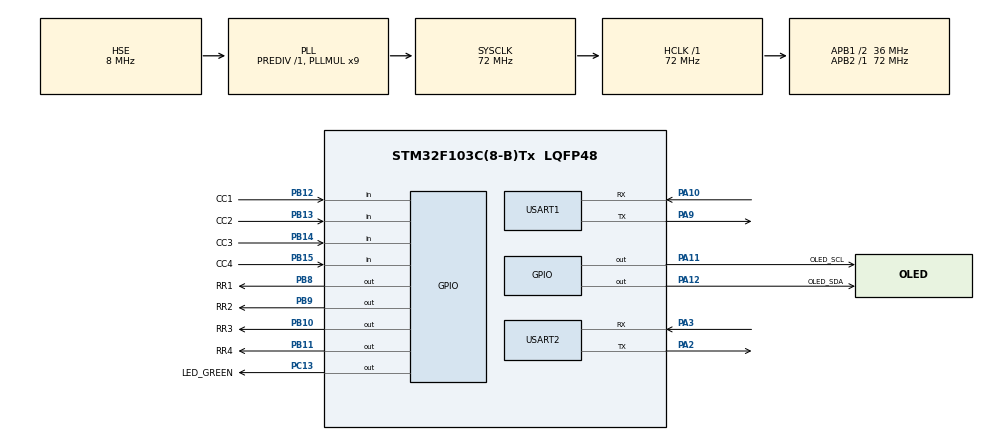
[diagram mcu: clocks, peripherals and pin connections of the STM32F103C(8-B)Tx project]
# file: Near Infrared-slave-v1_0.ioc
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FREERTOS.Tasks01=LED_Task,-2,128,Start_LED_Task,Default,NULL,Dynamic,NULL,NULL;menu_Task,-1,128,Start_menu_Task,Default,NULL,Dynamic,NULL,NULL;modbus_Task,-1,128,Start_modbus_Task,Default,NULL,Dynamic,NULL,NULL;keyboard_scan,-3,128,Start_keyboard_scan,Default,NULL,Dynamic,NULL,NULL;pump_Task,-3,128,Start_pump_Task,Default,NULL,Dynamic,NULL,NULL
FREERTOS.configTOTAL_HEAP_SIZE=4096
Mcu.Family=STM32F1
Mcu.Name=STM32F103C(8-B)Tx
Mcu.Package=LQFP48
NVIC.PriorityGroup=NVIC_PRIORITYGROUP_4
NVIC.TIM2_IRQn=true\:5\:0\:false\:false\:true\:true\:true\:true\:true
NVIC.TIM4_IRQn=true\:15\:0\:false\:false\:true\:false\:false\:true\:true
NVIC.TimeBase=TIM4_IRQn
NVIC.TimeBaseIP=TIM4
NVIC.USART1_IRQn=true\:5\:0\:true\:false\:true\:true\:true\:true\:true
NVIC.USART2_IRQn=true\:5\:0\:false\:false\:true\:true\:true\:true\:true
PA10.Mode=Asynchronous
PA10.Signal=USART1_RX
PA11.GPIO_Label=OLED_SCL
PA11.GPIO_PuPd=GPIO_NOPULL
PA11.GPIO_Speed=GPIO_SPEED_FREQ_HIGH
PA11.Signal=GPIO_Output
PA12.GPIO_Label=OLED_SDA
PA12.GPIO_Speed=GPIO_SPEED_FREQ_HIGH
PA12.Signal=GPIO_Output
PA13.Mode=Serial_Wire
PA13.Signal=SYS_JTMS-SWDIO
PA14.Mode=Serial_Wire
PA14.Signal=SYS_JTCK-SWCLK
PA2.Mode=Asynchronous
PA2.Signal=USART2_TX
PA3.Mode=Asynchronous
PA3.Signal=USART2_RX
PA9.Mode=Asynchronous
PA9.Signal=USART1_TX
PB10.GPIO_Label=RR3
PB10.GPIO_PuPd=GPIO_PULLDOWN
PB10.Signal=GPIO_Output
PB11.GPIO_Label=RR4
PB11.GPIO_PuPd=GPIO_PULLDOWN
PB11.Signal=GPIO_Output
PB12.GPIO_Label=CC1
PB12.GPIO_PuPd=GPIO_PULLUP
PB12.Signal=GPIO_Input
PB13.GPIO_Label=CC2
PB13.GPIO_PuPd=GPIO_PULLUP
PB13.Signal=GPIO_Input
PB14.GPIO_Label=CC3
PB14.GPIO_PuPd=GPIO_PULLUP
PB14.Signal=GPIO_Input
PB15.GPIO_Label=CC4
PB15.GPIO_PuPd=GPIO_PULLUP
PB15.Signal=GPIO_Input
PB8.GPIO_Label=RR1
PB8.GPIO_PuPd=GPIO_PULLDOWN
PB8.PinState=GPIO_PIN_RESET
PB8.Signal=GPIO_Output
PB9.GPIO_Label=RR2
PB9.GPIO_PuPd=GPIO_PULLDOWN
PB9.Signal=GPIO_Output
PC13-TAMPER-RTC.GPIO_Label=LED_GREEN
PC13-TAMPER-RTC.GPIO_PuPd=GPIO_PULLUP
PC13-TAMPER-RTC.GPIO_Speed=GPIO_SPEED_FREQ_HIGH
PC13-TAMPER-RTC.PinState=GPIO_PIN_SET
PC13-TAMPER-RTC.Signal=GPIO_Output
PC14-OSC32_IN.Mode=LSE-External-Oscillator
PC14-OSC32_IN.Signal=RCC_OSC32_IN
PC15-OSC32_OUT.Mode=LSE-External-Oscillator
PC15-OSC32_OUT.Signal=RCC_OSC32_OUT
PD0-OSC_IN.Mode=HSE-External-Oscillator
PD0-OSC_IN.Signal=RCC_OSC_IN
PD1-OSC_OUT.Mode=HSE-External-Oscillator
PD1-OSC_OUT.Signal=RCC_OSC_OUT
ProjectManager.HeapSize=0x200
ProjectManager.StackSize=0x400
ProjectManager.TargetToolchain=MDK-ARM V5.32
RCC.AHBFreq_Value=72000000
RCC.APB1CLKDivider=RCC_HCLK_DIV2
RCC.APB1Freq_Value=36000000
RCC.APB1TimFreq_Value=72000000
RCC.APB2Freq_Value=72000000
RCC.APB2TimFreq_Value=72000000
RCC.HCLKFreq_Value=72000000
RCC.PLLMUL=RCC_PLL_MUL9
RCC.PLLSourceVirtual=RCC_PLLSOURCE_HSE
RCC.SYSCLKFreq_VALUE=72000000
RCC.SYSCLKSource=RCC_SYSCLKSOURCE_PLLCLK
RCC.USBFreq_Value=72000000
RTC.Hours=14
RTC.Month=RTC_MONTH_JULY
RTC.Seconds=15
RTC.WeekDay=RTC_WEEKDAY_FRIDAY
RTC.Year=24
TIM2.AutoReloadPreload=TIM_AUTORELOAD_PRELOAD_ENABLE
TIM2.Period=1000-1
TIM2.Prescaler=72-1
TIM3.AutoReloadPreload=TIM_AUTORELOAD_PRELOAD_ENABLE
TIM3.Prescaler=72-1
USART1.VirtualMode=VM_ASYNC
USART2.VirtualMode=VM_ASYNC
VP_FREERTOS_VS_CMSIS_V1.Mode=CMSIS_V1
VP_RTC_No_RTC_Output.Mode=RTC_OUT_NO
VP_RTC_VS_RTC_Activate.Mode=RTC_Enabled
VP_RTC_VS_RTC_Calendar.Mode=RTC_Calendar
VP_SYS_VS_tim4.Mode=TIM4
VP_TIM2_VS_ClockSourceINT.Mode=Internal
VP_TIM3_VS_ClockSourceINT.Mode=Internal
board=custom

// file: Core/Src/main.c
/* USER CODE BEGIN Header */
/**
  ******************************************************************************
  * @file           : main.c
  * @brief          : Main program body
  ******************************************************************************
  * @attention
  *
  * Copyright (c) 2024 STMicroelectronics.
  * All rights reserved.
  *
  * This software is licensed under terms that can be found in the LICENSE file
  * in the root directory of this software component.
  * If no LICENSE file comes with this software, it is provided AS-IS.
  *
  ******************************************************************************
  */
/* USER CODE END Header */
#include "main.h"
#include "cmsis_os.h"
#include "rtc.h"
#include "tim.h"
#include "usart.h"
#include "gpio.h"

/* USER CODE BEGIN Includes */
#include "oled.h"
#include "menu.h"
#include "modbus.h"

/* USER CODE END Includes */

void SystemClock_Config(void);
void MX_FREERTOS_Init(void);

int main(void)
{

  /* MCU Configuration--------------------------------------------------------*/

  /* Reset of all peripherals, Initializes the Flash interface and the Systick. */
  HAL_Init();

  /* Configure the system clock */
  SystemClock_Config();

  /* Initialize all configured peripherals */
  MX_GPIO_Init();
  MX_USART2_UART_Init();
  MX_RTC_Init();
  MX_TIM3_Init();
  MX_TIM2_Init();
  MX_USART1_UART_Init();
  /* USER CODE BEGIN 2 */
    Modbus_Init();//本机作为从机使用时初始化
//    HAL_UART_Receive_IT(&huart1, (uint8_t *)&RES, 1);//调用接收中断函数
    OLED_Init();
    OLED_Clear();
//  HAL_Delay(500);

  /* USER CODE END 2 */

  /* Call init function for freertos objects (in cmsis_os2.c) */
  MX_FREERTOS_Init();

  /* Start scheduler */
  osKernelStart();

  /* We should never get here as control is now taken by the scheduler */

  /* Infinite loop */
    while (1)
    {

    }
}

void SystemClock_Config(void)
{
  RCC_OscInitTypeDef RCC_OscInitStruct = {0};
  RCC_ClkInitTypeDef RCC_ClkInitStruct = {0};
  RCC_PeriphCLKInitTypeDef PeriphClkInit = {0};

  /** Initializes the RCC Oscillators according to the specified parameters
  * in the RCC_OscInitTypeDef structure.
  */
  RCC_OscInitStruct.OscillatorType = RCC_OSCILLATORTYPE_LSI|RCC_OSCILLATORTYPE_HSE;
  RCC_OscInitStruct.HSEState = RCC_HSE_ON;
  RCC_OscInitStruct.HSEPredivValue = RCC_HSE_PREDIV_DIV1;
  RCC_OscInitStruct.HSIState = RCC_HSI_ON;
  RCC_OscInitStruct.LSIState = RCC_LSI_ON;
  RCC_OscInitStruct.PLL.PLLState = RCC_PLL_ON;
  RCC_OscInitStruct.PLL.PLLSource = RCC_PLLSOURCE_HSE;
  RCC_OscInitStruct.PLL.PLLMUL = RCC_PLL_MUL9;
  if (HAL_RCC_OscConfig(&RCC_OscInitStruct) != HAL_OK)
  {
    Error_Handler();
  }

  /** Initializes the CPU, AHB and APB buses clocks
  */
  RCC_ClkInitStruct.ClockType = RCC_CLOCKTYPE_HCLK|RCC_CLOCKTYPE_SYSCLK
                              |RCC_CLOCKTYPE_PCLK1|RCC_CLOCKTYPE_PCLK2;
  RCC_ClkInitStruct.SYSCLKSource = RCC_SYSCLKSOURCE_PLLCLK;
  RCC_ClkInitStruct.AHBCLKDivider = RCC_SYSCLK_DIV1;
  RCC_ClkInitStruct.APB1CLKDivider = RCC_HCLK_DIV2;
  RCC_ClkInitStruct.APB2CLKDivider = RCC_HCLK_DIV1;

  if (HAL_RCC_ClockConfig(&RCC_ClkInitStruct, FLASH_LATENCY_2) != HAL_OK)
  {
    Error_Handler();
  }
  PeriphClkInit.PeriphClockSelection = RCC_PERIPHCLK_RTC;
  PeriphClkInit.RTCClockSelection = RCC_RTCCLKSOURCE_LSI;
  if (HAL_RCCEx_PeriphCLKConfig(&PeriphClkInit) != HAL_OK)
  {
    Error_Handler();
  }
}

void HAL_TIM_PeriodElapsedCallback(TIM_HandleTypeDef *htim)
{
  /* USER CODE BEGIN Callback 0 */

	/***现在适配是1050   1750会好一点    差值控制在700-850之间，目前适配了250,1100，这个参数值还是比较完美的***/

  /* USER CODE END Callback 0 */
  if (htim->Instance == TIM4) {
    HAL_IncTick();
  }
  /* USER CODE BEGIN Callback 1 */
    if (htim->Instance == TIM2)
    {

        if(modbus.timrun != 0)//运行时间！=0表明
        {
            modbus.timout++;
            if(modbus.timout >=8)//
            {
                modbus.timrun = 0;//关闭定时器
                modbus.reflag = 1;//接收数据完毕
            }
        }
        modbus.Host_Sendtime++;//发送完上一帧后的时间计数
		modbus.Host_Sendtime_06++;
        if(modbus.Host_Sendtime>1050)//距离发送上一帧数据1s了,暂时改成了2000,1000作为读取，1000作为写入
        {
            //1s时间到
//			modbus.Host_Sendtime =0;//自己加上的代码，暂时不正确
            modbus.Host_time_flag=1;//发送数据标志位置1
        }

		if(modbus.Host_Sendtime_06>1750)//距离发送上一帧数据1s了,暂时改成了2000,1000作为读取，1000作为写入
        {
            //1s时间到
//			modbus.Host_Sendtime =0;//自己加上的代码，暂时不正确
            modbus.Host_time_flag_06=1;//发送数据标志位置1

        }
    }

//	if (htim->Instance == TIM3)
//    {

//        if(modbus.timrun != 0)//运行时间！=0表明
//        {
//            modbus.timout++;
//            if(modbus.timout >=8)//
//            {
//                modbus.timrun = 0;//关闭定时器
//                modbus.reflag = 1;//接收数据完毕
//            }
//        }
//        modbus.Host_Sendtime++;//发送完上一帧后的时间计数
//        if(modbus.Host_Sendtime>1000)//距离发送上一帧数据1s了
//        {
//            //1s时间到
////			modbus.Host_Sendtime =0;//自己加上的代码，暂时不正确
//            modbus.Host_time_flag=1;//发送数据标志位置1
////			printf("1S的时间到l\r\n");
////			HAL_GPIO_TogglePin(LED_GREEN_GPIO_Port,LED_GREEN_Pin);
//        }
//    }

  /* USER CODE END Callback 1 */
}

void Error_Handler(void)
{
    __disable_irq();
    while (1)
    {
    }
}

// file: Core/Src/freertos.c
/* USER CODE BEGIN Header */
/**
  ******************************************************************************
  * File Name          : freertos.c
  * Description        : Code for freertos applications
  ******************************************************************************
  * @attention
  *
  * Copyright (c) 2024 STMicroelectronics.
  * All rights reserved.
  *
  * This software is licensed under terms that can be found in the LICENSE file
  * in the root directory of this software component.
  * If no LICENSE file comes with this software, it is provided AS-IS.
  *
  ******************************************************************************
  */
/* USER CODE END Header */

#include "FreeRTOS.h"
#include "task.h"
#include "main.h"
#include "cmsis_os.h"

/* USER CODE BEGIN Includes */
#include "menu.h"
#include "delay.h"
#include "matrix_key.h"
#include "modbus.h"
#include "usart.h"

/* USER CODE END Includes */

osThreadId LED_TaskHandle;
osThreadId menu_TaskHandle;
osThreadId modbus_TaskHandle;
osThreadId keyboard_scanHandle;

void Start_LED_Task(void const * argument);
void Start_menu_Task(void const * argument);
void Start_modbus_Task(void const * argument);
void Start_keyboard_scan(void const * argument);

void MX_FREERTOS_Init(void); /* (MISRA C 2004 rule 8.1) */

/* GetIdleTaskMemory prototype (linked to static allocation support) */
void vApplicationGetIdleTaskMemory( StaticTask_t **ppxIdleTaskTCBBuffer, StackType_t **ppxIdleTaskStackBuffer, uint32_t *pulIdleTaskStackSize );

/* USER CODE BEGIN GET_IDLE_TASK_MEMORY */
static StaticTask_t xIdleTaskTCBBuffer;
static StackType_t xIdleStack[configMINIMAL_STACK_SIZE];

void vApplicationGetIdleTaskMemory( StaticTask_t **ppxIdleTaskTCBBuffer, StackType_t **ppxIdleTaskStackBuffer, uint32_t *pulIdleTaskStackSize )
{
  *ppxIdleTaskTCBBuffer = &xIdleTaskTCBBuffer;
  *ppxIdleTaskStackBuffer = &xIdleStack[0];
  *pulIdleTaskStackSize = configMINIMAL_STACK_SIZE;
  /* place for user code */
}
/* USER CODE END GET_IDLE_TASK_MEMORY */

void MX_FREERTOS_Init(void) {

  /* Create the thread(s) */
  /* definition and creation of LED_Task */
  osThreadDef(LED_Task, Start_LED_Task, osPriorityBelowNormal, 0, 128);
  LED_TaskHandle = osThreadCreate(osThread(LED_Task), NULL);

  /* definition and creation of menu_Task */
  osThreadDef(menu_Task, Start_menu_Task, osPriorityBelowNormal, 0, 128);
  menu_TaskHandle = osThreadCreate(osThread(menu_Task), NULL);

  /* definition and creation of modbus_Task */
  osThreadDef(modbus_Task, Start_modbus_Task, osPriorityBelowNormal, 0, 128);
  modbus_TaskHandle = osThreadCreate(osThread(modbus_Task), NULL);

  /* definition and creation of keyboard_scan */
  osThreadDef(keyboard_scan, Start_keyboard_scan, osPriorityBelowNormal, 0, 128);
  keyboard_scanHandle = osThreadCreate(osThread(keyboard_scan), NULL);

}

void Start_LED_Task(void const * argument)
{
  /* USER CODE BEGIN Start_LED_Task */
  /* Infinite loop */
	int rx_value = 0;

  for(;;)
  {
//	  HAL_GPIO_TogglePin(LED_GREEN_GPIO_Port,LED_GREEN_Pin);
//	  printf("(int)modbus.rcbuf[4+i]；%#x\n",(int)modbus.rcbuf[4+2]);
//	  printf("(int)modbus.rcbuf[4+i]；%d\n",(int)modbus.rcbuf[4]);
//	  printf("此刻modbus.Host_Sendtime的值是；%d\r\n",modbus.Host_Sendtime);
//	  printf("modbus.recount的值；%d",modbus.recount);
//	  printf("这是一个测试性实验\r\n");

	  /***查看液位传感器的状态，是否是实时性***/

	  rx_value = (int)modbus.rcbuf[4+0]+((int)modbus.rcbuf[3+0])*256;
	  osDelay(4000);
	  if(rx_value == 16)
	  {
		  HAL_GPIO_WritePin(LED_GREEN_GPIO_Port,LED_GREEN_Pin,GPIO_PIN_RESET);
//		  printf("满液位状态\r\n");

	  }
	  else
	  {
		  HAL_GPIO_WritePin(LED_GREEN_GPIO_Port,LED_GREEN_Pin,GPIO_PIN_SET);
//		  printf("缺水状态\r\n");
	  }

  }
  /* USER CODE END Start_LED_Task */
}

void Start_menu_Task(void const * argument)
{
  /* USER CODE BEGIN Start_menu_Task */
  /* Infinite loop */
  uint16_t key_value;
  for(;;)
  {
//	  key_value = keyboard_scan();
//	  printf("你按下的按键是：%d\r\n",key_value);
//	  if(key_value == 1)
//	  {
//		  HAL_GPIO_WritePin(LED_GREEN_GPIO_Port,LED_GREEN_Pin,GPIO_PIN_RESET);
////	  osDelay(500);
//	  }
//	  else if(key_value == 2)
//	  {
//		  HAL_GPIO_WritePin(LED_GREEN_GPIO_Port,LED_GREEN_Pin,GPIO_PIN_SET);
//	  }
	  Menu_key_set();
	  osDelay(20);
  }
  /* USER CODE END Start_menu_Task */
}

void Start_modbus_Task(void const * argument)
{
  /* USER CODE BEGIN Start_modbus_Task */
  /* Infinite loop */
//	uint8_t key1 = 0;
	int value = 0;
  for(;;)
  {
//	  if(modbus.Host_time_flag)//每1s发送一次数据
//        {
//			printf("Host_time_flag的数值是: %d\r\n",modbus.Host_time_flag);
//            //01-读取从机数据测试
//            //参数1：查看第i个从机数据
//            Host_Read03_slave(0x01,0x0000,0x0003);//参数1从机地址，参数2起始地址，参数3寄存器个数
//            if(modbus.Host_send_flag)
//            {
//                modbus.Host_Sendtime=0;//发送完毕后计数清零（距离上次的时间）
//                modbus.Host_time_flag=0;//发送数据标志位清零
//                modbus.Host_send_flag=0;//清空发送结束数据标志位
//                HOST_ModbusRX();//接收数据进行处理
//            }
					//02-写入数据测试
//					Host_write06_slave(0x01,0x06,0x0002,0x0045);
//					if(modbus.Host_send_flag)
//					{
//						modbus.Host_Sendtime=0;//发送完毕后计数清零（距离上次的时间）
//						modbus.Host_time_flag=0;//发送数据标志位清零
//						modbus.Host_send_flag=0;//清空发送结束数据标志位
//						Host_Func6();//从机返回数据处理
//					}
			//03-写入多个数据测试-作为主机使用
//			Host_write10_slave(0x01,0x10,0x0001,0x0002,0x04,0x0102,0x0305);
////			Host_write06_slave(0x01,0x06,0x0001,0x0045);
//			if(modbus.Host_send_flag)
//			{
//				modbus.Host_Sendtime=0;//发送完毕后计数清零（距离上次的时间）
//				modbus.Host_time_flag=0;//发送数据标志位清零
//				modbus.Host_send_flag=0;//清空发送结束数据标志位
//				Host_Func10();//从机返回数据处理
//			}
			//4-作为从机使用
//			Modbus_Event();//本机作为从机使用时
//        }
//		osDelay(1000);

		/***1S的时间内执行数据的读取和写入的实验实验***/
//		for(int i = 0;i<150;i++)
//		{
//			if(i >46 && i <50)
//			{
//				if(key_status == 2)
//				{
//					Host_write06_slave(0x01,0x06,0x0002,0x0045);
//					Host_Func6();//从机返回数据处理
//				}
//				if(key_status == 1)
//				{
//					Host_write06_slave(0x01,0x06,0x0002,0x0050);
//					Host_Func6();//从机返回数据处理
//				}
////					Host_write06_slave(0x01,0x06,0x0002,0x0050);
////					Host_Func6();//从机返回数据处理
//			}
//
//			if(i >148 && i <150 )
//			{
//
//				Host_Read03_slave(0x01,0x0000,0x0001);
//				HOST_ModbusRX();
//			}

//

//
//
//
//		}

//		if(modbus.Host_time_flag)//每1s发送一次数据
//		{
//			if(modbus.Host_End_6 == 1)
//			{
//				Host_Read03_slave(0x01,0x0000,0x0001);
//				HOST_ModbusRX();
//			}
//			Host_Read03_slave(0x01,0x0000,0x0001);//参数1从机地址，参数2起始地址，参数3寄存器个数,功能函数的末尾带了一个发送完毕的标志位置1的语句。
//            if(modbus.Host_send_flag)
//            {
//                modbus.Host_Sendtime=0;//发送完毕后计数清零（距离上次的时间）
//                modbus.Host_time_flag=0;//发送数据标志位清零
//                modbus.Host_send_flag=0;//清空发送结束数据标志位
//                HOST_ModbusRX();//接收数据进行处理
//            }
//			HOST_ModbusRX();

//			osDelay(3000);
//
//
////			//02-写入数据测试
//			Host_write06_slave(0x01,0x06,0x0002,0x0045);
////			if(modbus.Host_send_flag)
////			{
//////				modbus.Host_Sendtime=0;//发送完毕后计数清零（距离上次的时间）
//////				modbus.Host_time_flag=0;//发送数据标志位清零
//////				modbus.Host_send_flag=0;//清空发送结束数据标志位
////				Host_Func6();//从机返回数据处理
////			}
//			osDelay(4000);

//
//			modbus.Host_time_flag=0;//发送数据标志位清零

			/***2S的时间内执行数据的读取和写入轮询的实验实验***/
//			value++;
//			if(modbus.Host_time_flag)//每2s执行读取和写入轮询，1s读取，1S写入
//			{
//
//				if(value  == 1)
//				{
//					 Host_Read03_slave(0x01,0x0000,0x0001);//参数1从机地址，参数2起始地址，参数3寄存器个数
//					if(modbus.Host_send_flag_03)
//					{
////						modbus.Host_Sendtime=0;//发送完毕后计数清零（距离上次的时间）
////						modbus.Host_time_flag=0;//发送数据标志位清零
//	//					modbus.Host_send_flag_03=0;//清空发送结束数据标志位
//						HOST_ModbusRX();//接收数据进行处理
//					}
//				}
//				else if(value  == 200)
//				{
//					Host_write06_slave(0x01,0x06,0x0002,0x0045);
//					if(modbus.Host_send_flag_06)
//					{
//	//					modbus.Host_Sendtime=0;//发送完毕后计数清零（距离上次的时间）
//	//					modbus.Host_time_flag=0;//发送数据标志位清零
////						modbus.Host_send_flag_06=0;//清空发送结束数据标志位
//						Host_Func6();//从机返回数据处理
//					}
//					value = 0;
//				}
//			}
			value++;
			if(value  == 10)
			{
				Host_Read03_slave(0x01,0x0000,0x0001);//参数1从机地址，参数2起始地址，参数3寄存器个数
				HOST_ModbusRX();//接收数据进行处理
//				value = 0;
			}

			 if(value  == 200)
			{
				Host_write06_slave(0x01,0x06,0x0002,0x0045);
				Host_Func6();//从机返回数据处理
				value = 0;

			}

		}

		/***主机的按键控制从机驱动LED亮灭的实验***/

//		if(key_status == 1)
//		{
//			for(int i = 0;i<1;i++)
//			{
//				Host_write06_slave(0x01,0x06,0x0002,0x0050);
//				if(modbus.Host_send_flag)
//				{
//					modbus.Host_Sendtime=0;//发送完毕后计数清零（距离上次的时间）
//					modbus.Host_time_flag=0;//发送数据标志位清零
//					modbus.Host_send_flag=0;//清空发送结束数据标志位
//					Host_Func6();//从机返回数据处理
//				}
//			}
//			key_status = 0;
//			osDelay(1000);
//		}
//
//		else if(key_status == 2)
//		{
//			for(int i = 0;i<1;i++)
//			{
//
//				Host_write06_slave(0x01,0x06,0x0002,0x0045);
//				if(modbus.Host_send_flag)
//				{
//					modbus.Host_Sendtime=0;//发送完毕后计数清零（距离上次的时间）
//					modbus.Host_time_flag=0;//发送数据标志位清零
//					modbus.Host_send_flag=0;//清空发送结束数据标志位
//					Host_Func6();//从机返回数据处理
//				}
//			}
//			key_status = 0;
//			osDelay(1000);

//		}

//  }
  /* USER CODE END Start_modbus_Task */
}

void Start_keyboard_scan(void const * argument)
{
  /* USER CODE BEGIN Start_keyboard_scan */
  /* Infinite loop */
	int key_123;
	int i = 0;
  for(;;)
  {

	  key_123 = keyboard_scan();
	  if(key_123 == 16)
	  {
		  i++;
		  if(i == 1)
		  {
			  Host_write06_slave(0x01,0x06,0x0002,0x0045);
			  Host_Func6();//从机返回数据处理

		  }

		  else if(i == 2)
		  {
			  Host_write06_slave(0x01,0x06,0x0002,0x0050);
			  Host_Func6();//从机返回数据处理
			  i = 0;

		  }
	  }
		osDelay(10);
  }
  /* USER CODE END Start_keyboard_scan */
}
